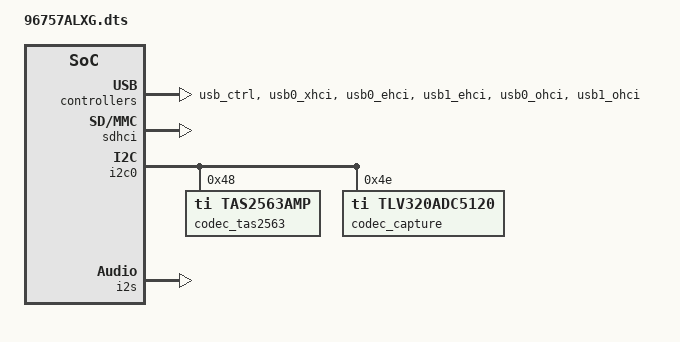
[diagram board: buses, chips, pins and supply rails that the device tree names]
#include "6756.dtsi"

/ {
	memory_controller {
		memcfg = <(BP_DDR_TYPE_DDR4           | \
			BP_DDR_SPEED_1067_15_15_15 | \
			BP_DDR_TOTAL_SIZE_1024MB   | \
			BP_DDR_DEVICE_WIDTH_16     | \
			BP_DDR_TOTAL_WIDTH_16BIT   | \
			BP_DDR_6756_DEFAULT          | \
			BP_DDR_CONFIG_DEBUG)>;
	};

	buttons {
		compatible = "brcm,buttons";
		reset_button {
			ext_irq = <&bca_extintr 77 GPIO_ACTIVE_LOW (BCA_EXTINTR_TYPE_LOW_LEVEL | BCA_EXTINTR_TYPE_SENSE_EDGE)>;
			press {
				print = "Button Press -- Hold for 5s to do restore to default";
			};
			hold {
				rst_to_dflt = <5>;
			};
			release {
				reset = <0>;
			};	
		};
		ses_button {
			ext_irq = <&bca_extintr 78 GPIO_ACTIVE_LOW (BCA_EXTINTR_TYPE_LOW_LEVEL | BCA_EXTINTR_TYPE_SENSE_EDGE)>;
			release {
				ses_short_period = <0>;
				ses_long_period = <3>;
			};
		};
	};
};


&switch0 {
	ports {
		port_gphy {
			phy-handle = <&phy_gphy>;
			network-leds=<&led0 &led1>;
			status = "okay";
		};
	};
};

&usb_ctrl {
	pinctrl-names="default";
	pinctrl-0 = <&usb0_pwr_pins &usb1_pwr_pins>;
	pwron-bias-pull-up;
	status = "okay";
	xhci-enable;
};

&usb0_xhci {
	status = "okay";
};

&usb0_ehci {
	status = "okay";
};

&usb1_ehci {
	status = "okay";
};

&usb0_ohci {
	status = "okay";
};

&usb1_ohci {
	status = "okay";
};

&sdhci {
	pinctrl-names="default";
	pinctrl-0 = <&emmc_ctrl_pins>;
	status = "okay";
};

&i2c0 {
	pinctrl-names="default";
	pinctrl-0 = <&i2c_sda_pin_16 &i2c_scl_pin_17>;
	status = "okay";

	codec_tas2563:codec_tas2563@48{
		compatible = "ti,tas2563amp";
		reg = <0x48>;
	};
	codec_capture:codec_capture@4e{
		compatible = "ti,tlv320adc5120";
		reg = <0x4e>;
	};
};

&i2s {
			pinctrl-0 = <&i2s_tx_sclk_pin_11 &i2s_tx_lrck_pin_12 &i2s_tx_sdata_pin_15 &i2s_tx_mclk_pin_14 &i2s_rx_sclk_pin_22 &i2s_rx_lrck_pin_23 &i2s_rx_sdata_pin_13 &i2s_rx_mclk_pin_24>;
			pinctrl-names = "default";
			status = "okay";
			mic_sel_1-gpio = <&gpioc 9 GPIO_ACTIVE_LOW>;
			mic_sel_2-gpio = <&gpioc 10 GPIO_ACTIVE_LOW>;
			mic_array_sw1-gpio = <&gpioc 38 GPIO_ACTIVE_LOW>;
			mic_array_sw2-gpio = <&gpioc 39 GPIO_ACTIVE_LOW>;
			mic_array_sw3-gpio = <&gpioc 36 GPIO_ACTIVE_LOW>;
			mic_power_en-gpio  = <&gpioc 26 GPIO_ACTIVE_LOW>;
			mic_mute_detect-gpio  = <&gpioc 37 GPIO_ACTIVE_LOW>;
			i2s_clk_select-gpio   = <&gpioc 67 GPIO_ACTIVE_LOW>;
};

&legacy_leds {
        wl-sess-led = <&led5>;
	wl0-led = <&led4>;
	wl1-led = <&led3>;
};
&led_ctrl {
	led0: port_0-led-0 {
		active_low;
		link = <(LED_SPEED_100|LED_SPEED_1G)>;
		pinctrl-0=<&b_per_led_28_pin_68>;
		status = "okay";
	};
	led1: port_0-led-2 {
		active_low;
		activity = <LED_SPEED_GBE>;
		pinctrl-0=<&b_per_led_29_pin_69>;
		status = "okay";
	};
	led3:led_gpio_27 {
                compatible = "brcm,gpio-led";
                software_led;
                pin = <27>;
                active_low;
        };
        led4:led_gpio_28 {
                compatible = "brcm,gpio-led";
                software_led;
                pin = <28>;
                active_low;
        };
        led5: sw_led_01 {
                active_low;
                pinctrl-0=<&a_per_led_01_pin_1>;
                status = "okay";
        };


};
